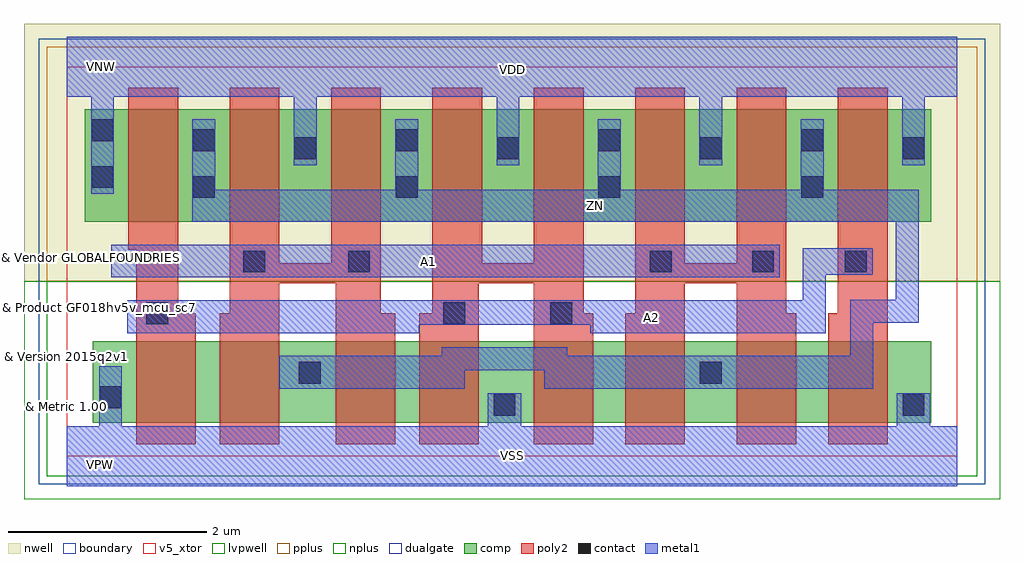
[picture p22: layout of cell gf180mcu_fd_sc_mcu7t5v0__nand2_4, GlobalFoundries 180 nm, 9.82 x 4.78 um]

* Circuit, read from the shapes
.subckt gf180mcu_fd_sc_mcu7t5v0__nand2_4 A1 A2 VDD VNW VSS ZN
XM1 n1 A2 VSS VSUBS nfet_05v0 w=0.82u l=0.6u
XM2 ZN A1 n1 VSUBS nfet_05v0 w=0.82u l=0.6u
XM3 n2 A1 ZN VSUBS nfet_05v0 w=0.82u l=0.6u
XM4 VSS A2 n2 VSUBS nfet_05v0 w=0.82u l=0.6u
XM5 n3 A2 VSS VSUBS nfet_05v0 w=0.82u l=0.6u
XM6 ZN A1 n3 VSUBS nfet_05v0 w=0.82u l=0.6u
XM7 n4 A1 ZN VSUBS nfet_05v0 w=0.82u l=0.6u
XM8 VSS A2 n4 VSUBS nfet_05v0 w=0.82u l=0.6u
XM9 ZN A2 VDD VNW pfet_05v0 w=1.13u l=0.5u m=4
XM10 VDD A1 ZN VNW pfet_05v0 w=1.13u l=0.5u m=4
.ends

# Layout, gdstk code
import gdstk
lib = gdstk.Library(unit=1e-6, precision=5e-10)
def R(c, l, rs):  # rectangles x0, y0, x1, y1
    for r in rs: c.add(gdstk.rectangle(r[:2], r[2:], *l))
def A(c, l, x, y, w, h, nx, ny, dx, dy):  # array of equal rectangles
    R(c, l, [(x+i*dx, y+j*dy, x+i*dx+w, y+j*dy+h) for i in range(nx) for j in range(ny)])
def P(c, l, *ps):  # polygons
    for p in ps: c.add(gdstk.Polygon(p, *l))
boundary = (0, 0)
nwell = (21, 0)
comp = (22, 0)
poly2 = (30, 0)
pplus = (31, 0)
nplus = (32, 0)
contact = (33, 0)
metal1 = (34, 0)
dualgate = (55, 0)
v5_xtor = (112, 1)
lvpwell = (204, 0)

gf180mcu_fd_sc_mcu7t5v0_ = lib.new_cell('gf180mcu_fd_sc_mcu7t5v0__nand2_4')
R(gf180mcu_fd_sc_mcu7t5v0_, boundary, [(0,0,8.96,3.92)])
R(gf180mcu_fd_sc_mcu7t5v0_, nwell, [(-0.43,1.76,9.39,4.35)])
R(gf180mcu_fd_sc_mcu7t5v0_, comp, [(0.26,0.34,8.7,1.16), (0.18,2.36,8.7,3.49)])
P(gf180mcu_fd_sc_mcu7t5v0_, poly2, [(0.7,0.12),(0.7,2.08),(0.62,2.08),(0.62,3.71),(1.12,3.71),(1.12,1.44),(1.3,1.44),(1.3,0.12)],
  [(1.54,0.12),(1.54,1.44),(1.64,1.44),(1.64,3.71),(2.14,3.71),(2.14,1.94),(2.66,1.94),(2.66,3.71),(3.16,3.71),(3.16,1.44),(3.305,1.44),(3.305,0.12),(2.705,0.12),(2.705,1.74),(2.14,1.74),(2.14,0.12)],
  [(3.545,0.12),(3.545,1.44),(3.68,1.44),(3.68,3.71),(4.18,3.71),(4.18,1.94),(4.7,1.94),(4.7,3.71),(5.2,3.71),(5.2,1.44),(5.3,1.44),(5.3,0.12),(4.7,0.12),(4.7,1.74),(4.145,1.74),(4.145,0.12)],
  [(5.62,0.12),(5.62,1.44),(5.72,1.44),(5.72,3.71),(6.22,3.71),(6.22,1.94),(6.74,1.94),(6.74,3.71),(7.24,3.71),(7.24,1.44),(7.34,1.44),(7.34,0.12),(6.74,0.12),(6.74,1.74),(6.22,1.74),(6.22,0.12)],
  [(7.66,0.12),(7.66,1.44),(7.76,1.44),(7.76,3.71),(8.26,3.71),(8.26,0.12)])
R(gf180mcu_fd_sc_mcu7t5v0_, pplus, [(-0.2,1.76,9.16,4.12)])
R(gf180mcu_fd_sc_mcu7t5v0_, nplus, [(-0.2,-0.2,9.16,1.76)])
A(gf180mcu_fd_sc_mcu7t5v0_, contact, 1.27, 2.6, 0.22, 0.22, 4, 2, 2.04, 0.47)
A(gf180mcu_fd_sc_mcu7t5v0_, contact, 2.29, 2.99, 0.22, 0.22, 4, 1, 2.04, 0)
R(gf180mcu_fd_sc_mcu7t5v0_, contact, [(4.295,0.41,4.515,0.63), (8.41,0.41,8.63,0.63), (0.33,0.485,0.55,0.705), (2.335,0.73,2.555,0.95), (6.37,0.73,6.59,0.95), (0.8,1.33,1.02,1.55), (3.79,1.33,4.01,1.55), (4.865,1.33,5.085,1.55), (1.775,1.85,1.995,2.07), (2.83,1.85,3.05,2.07), (5.865,1.85,6.085,2.07), (6.895,1.85,7.115,2.07), (7.83,1.85,8.05,2.07), (0.25,2.7,0.47,2.92), (0.25,3.17,0.47,3.39)])
R(gf180mcu_fd_sc_mcu7t5v0_, metal1, [(0.45,1.8,7.175,2.13)])
P(gf180mcu_fd_sc_mcu7t5v0_, metal1, [(0.61,1.24),(0.61,1.57),(7.405,1.57),(7.405,2.095),(8.11,2.095),(8.11,1.825),(7.635,1.825),(7.635,1.24),(5.265,1.24),(5.265,1.325),(3.545,1.325),(3.545,1.24)],
  [(2.14,0.68),(2.14,1.01),(3.775,1.01),(3.775,1.095),(5.035,1.095),(5.035,1.01),(7.885,1.01),(7.885,1.575),(8.34,1.575),(8.34,2.36),(1.265,2.36),(1.265,3.39),(1.495,3.39),(1.495,2.68),(3.305,2.68),(3.305,3.39),(3.535,3.39),(3.535,2.68),(5.345,2.68),(5.345,3.39),(5.575,3.39),(5.575,2.68),(7.385,2.68),(7.385,3.39),(7.615,3.39),(7.615,2.68),(8.57,2.68),(8.57,1.345),(8.115,1.345),(8.115,0.68),(4.805,0.68),(4.805,0.865),(4.005,0.865),(4.005,0.68)],
  [(0,-0.3),(0,0.3),(0.325,0.3),(0.325,0.905),(0.555,0.905),(0.555,0.3),(4.235,0.3),(4.235,0.635),(4.575,0.635),(4.575,0.3),(8.35,0.3),(8.35,0.635),(8.69,0.635),(8.69,0.3),(8.96,0.3),(8.96,-0.3)],
  [(0.245,2.64),(0.245,3.62),(0,3.62),(0,4.22),(8.96,4.22),(8.96,3.62),(8.635,3.62),(8.635,2.93),(8.405,2.93),(8.405,3.62),(6.595,3.62),(6.595,2.93),(6.365,2.93),(6.365,3.62),(4.555,3.62),(4.555,2.93),(4.325,2.93),(4.325,3.62),(2.515,3.62),(2.515,2.93),(2.285,2.93),(2.285,3.62),(0.475,3.62),(0.475,2.64)])
R(gf180mcu_fd_sc_mcu7t5v0_, dualgate, [(-0.28,-0.28,9.24,4.2)])
R(gf180mcu_fd_sc_mcu7t5v0_, v5_xtor, [(0,0,8.96,3.92)])
R(gf180mcu_fd_sc_mcu7t5v0_, lvpwell, [(-0.43,-0.43,9.39,1.76)])
gf180mcu_fd_sc_mcu7t5v0_.add(gdstk.Label('VDD', (4.48,3.895), layer=34, texttype=10))
gf180mcu_fd_sc_mcu7t5v0_.add(gdstk.Label('VSS', (4.48,0.005), layer=34, texttype=10))
gf180mcu_fd_sc_mcu7t5v0_.add(gdstk.Label('ZN', (5.32,2.52), layer=34, texttype=10))
gf180mcu_fd_sc_mcu7t5v0_.add(gdstk.Label('A1', (3.64,1.96), layer=34, texttype=10))
gf180mcu_fd_sc_mcu7t5v0_.add(gdstk.Label('A2', (5.88,1.4), layer=34, texttype=10))
gf180mcu_fd_sc_mcu7t5v0_.add(gdstk.Label('& Vendor GLOBALFOUNDRIES', (0,2), layer=63, texttype=63))
gf180mcu_fd_sc_mcu7t5v0_.add(gdstk.Label('& Product GF018hv5v_mcu_sc7', (0,1.5), layer=63, texttype=63))
gf180mcu_fd_sc_mcu7t5v0_.add(gdstk.Label('& Version 2015q2v1', (0,1), layer=63, texttype=63))
gf180mcu_fd_sc_mcu7t5v0_.add(gdstk.Label('& Metric 1.00', (0,0.5), layer=63, texttype=63))
gf180mcu_fd_sc_mcu7t5v0_.add(gdstk.Label('VNW', (0.345,3.92), layer=21, texttype=10))
gf180mcu_fd_sc_mcu7t5v0_.add(gdstk.Label('VPW', (0.34,-0.085), layer=204, texttype=10))

lib.write_gds('gf180mcu_fd_sc_mcu7t5v0__nand2_4.gds')
